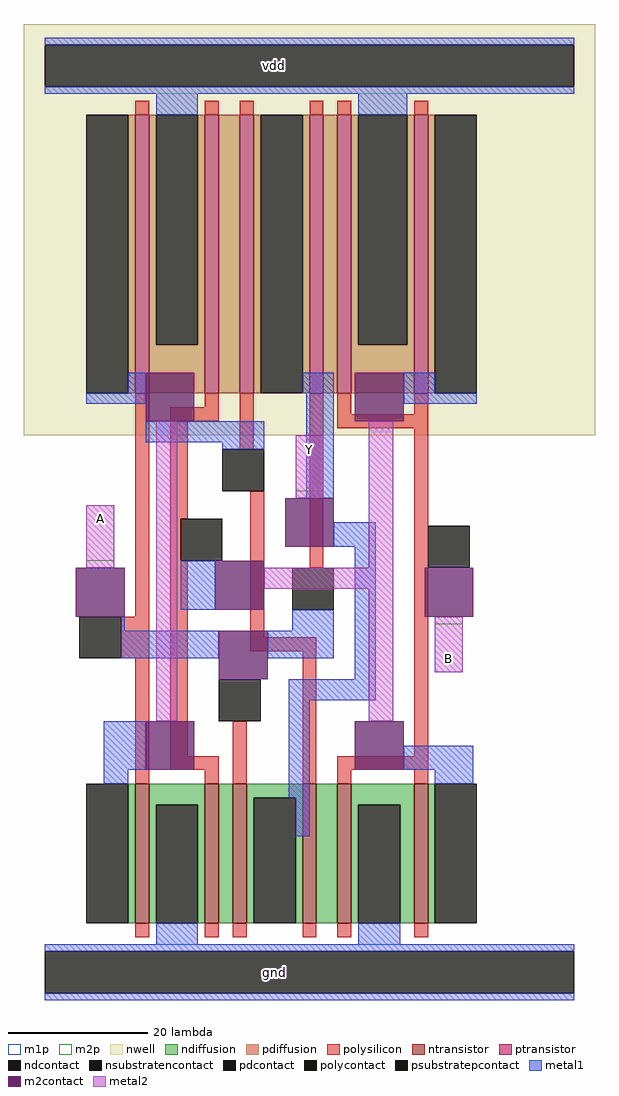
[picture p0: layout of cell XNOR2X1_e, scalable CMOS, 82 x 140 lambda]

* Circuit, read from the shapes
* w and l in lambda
.subckt XNOR2X1_e A B Y vdd gnd
M1 gnd A n1 gnd nfet w=20 l=2
M2 n2 n3 gnd gnd nfet w=20 l=2
M3 Y A n2 gnd nfet w=20 l=2
M4 n4 n1 Y gnd nfet w=20 l=2
M5 gnd B n4 gnd nfet w=20 l=2
M6 n3 B gnd gnd nfet w=20 l=2
M7 vdd A n1 vdd pfet w=40 l=2
M8 n5 n3 vdd vdd pfet w=40 l=2
M9 Y n1 n5 vdd pfet w=40 l=2
M10 n6 A Y vdd pfet w=40 l=2
M11 vdd B n6 vdd pfet w=40 l=2
M12 n3 B vdd vdd pfet w=40 l=2
.ends

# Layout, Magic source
magic
tech scmos
magscale 1 2
<< nwell >>
rect -12 154 152 272
<< ntransistor >>
rect 20 14 24 54
rect 40 14 44 54
rect 48 14 52 54
rect 68 14 72 54
rect 78 14 82 54
rect 100 14 104 54
<< ptransistor >>
rect 20 166 24 246
rect 40 166 44 246
rect 50 166 54 246
rect 70 166 74 246
rect 78 166 82 246
rect 100 166 104 246
<< ndiffusion >>
rect 18 14 20 54
rect 24 48 40 54
rect 24 14 26 48
rect 38 14 40 48
rect 44 14 48 54
rect 52 50 68 54
rect 52 14 54 50
rect 66 14 68 50
rect 72 14 78 54
rect 82 48 100 54
rect 82 14 84 48
rect 96 14 100 48
rect 104 14 106 54
<< pdiffusion >>
rect 18 166 20 246
rect 24 180 26 246
rect 38 180 40 246
rect 24 166 40 180
rect 44 166 50 246
rect 54 166 56 246
rect 68 166 70 246
rect 74 166 78 246
rect 82 180 84 246
rect 98 180 100 246
rect 82 166 100 180
rect 104 166 106 246
<< ndcontact >>
rect 6 14 18 54
rect 26 14 38 48
rect 54 14 66 50
rect 84 14 96 48
rect 106 14 118 54
<< pdcontact >>
rect 6 166 18 246
rect 26 180 38 246
rect 56 166 68 246
rect 84 180 98 246
rect 106 166 118 246
<< psubstratepcontact >>
rect -6 -6 146 6
<< nsubstratencontact >>
rect -6 254 146 266
<< polysilicon >>
rect 20 246 24 250
rect 40 246 44 250
rect 50 246 54 250
rect 70 246 74 250
rect 78 246 82 250
rect 100 246 104 250
rect 20 102 24 166
rect 40 162 44 166
rect 16 90 24 102
rect 20 54 24 90
rect 30 158 44 162
rect 30 130 35 158
rect 50 150 54 166
rect 30 118 33 130
rect 30 62 35 118
rect 53 96 57 138
rect 70 116 74 166
rect 78 160 82 166
rect 100 160 104 166
rect 78 156 104 160
rect 53 92 72 96
rect 30 58 44 62
rect 40 54 44 58
rect 48 54 52 72
rect 68 54 72 92
rect 100 62 104 156
rect 78 58 104 62
rect 78 54 82 58
rect 100 54 104 58
rect 20 10 24 14
rect 40 10 44 14
rect 48 10 52 14
rect 68 10 72 14
rect 78 10 82 14
rect 100 10 104 14
<< polycontact >>
rect 4 90 16 102
rect 45 138 57 150
rect 33 118 45 130
rect 65 104 77 116
rect 44 72 56 84
rect 104 116 116 128
<< metal1 >>
rect -6 266 146 268
rect -6 252 146 254
rect 26 246 38 252
rect 84 246 98 252
rect 18 166 23 172
rect 6 163 23 166
rect 68 166 77 172
rect 23 152 57 158
rect 45 150 57 152
rect 69 136 77 166
rect 97 166 106 172
rect 97 163 118 166
rect 77 122 89 129
rect 33 104 43 118
rect 16 98 17 102
rect 65 98 77 104
rect 16 90 44 98
rect 58 90 77 98
rect 83 84 89 122
rect 64 78 89 84
rect 11 58 23 72
rect 11 54 18 58
rect 64 50 70 78
rect 97 58 117 65
rect 66 39 70 50
rect 106 54 117 58
rect 26 8 38 14
rect 84 8 96 14
rect -6 6 146 8
rect -6 -8 146 -6
<< m2contact >>
rect 23 158 37 172
rect 83 158 97 172
rect 63 122 77 136
rect 3 102 17 116
rect 43 104 57 118
rect 44 84 58 98
rect 103 102 117 116
rect 23 58 37 72
rect 83 58 97 72
<< metal2 >>
rect 6 116 14 134
rect 26 72 32 158
rect 66 136 74 154
rect 87 116 94 158
rect 57 110 94 116
rect 87 72 94 110
rect 106 86 114 102
<< m1p >>
rect -6 252 146 268
rect -6 -8 146 8
<< m2p >>
rect 66 138 74 154
rect 6 118 14 134
rect 106 86 114 100
<< labels >>
rlabel metal1 -6 252 126 268 0 vdd
port 4 nsew power bidirectional abutment
rlabel metal1 -6 -8 126 8 0 gnd
port 5 nsew ground bidirectional abutment
rlabel metal2 10 130 10 130 1 A
port 1 n signal input
rlabel metal2 70 150 70 150 1 Y
port 3 n signal output
rlabel metal2 110 90 110 90 5 B
port 2 n signal input
<< properties >>
string FIXED_BBOX 0 0 140 260
string LEFclass CORE
string LEFsite core
string LEFsymmetry X Y
<< end >>
